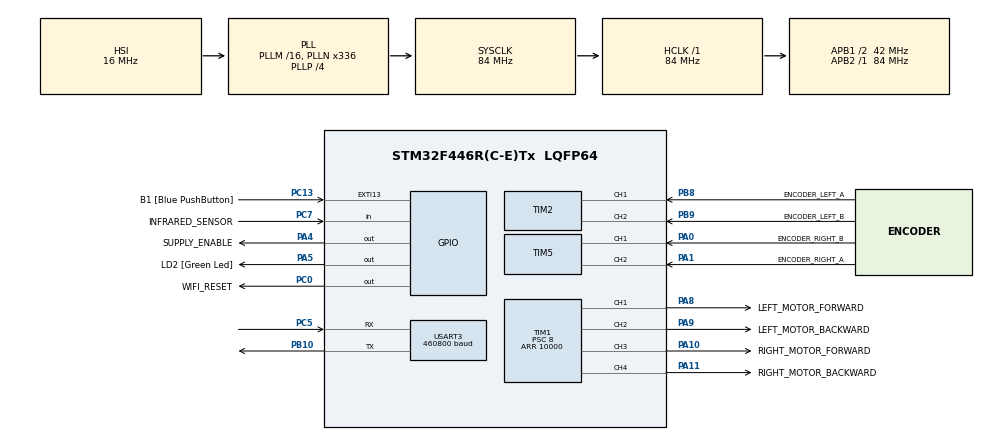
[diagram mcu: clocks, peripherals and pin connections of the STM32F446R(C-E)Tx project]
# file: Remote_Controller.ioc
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Dma.Request0=USART3_RX
Dma.USART3_RX.0.Direction=DMA_PERIPH_TO_MEMORY
Dma.USART3_RX.0.FIFOMode=DMA_FIFOMODE_DISABLE
Dma.USART3_RX.0.Instance=DMA1_Stream1
Dma.USART3_RX.0.MemDataAlignment=DMA_MDATAALIGN_BYTE
Dma.USART3_RX.0.MemInc=DMA_MINC_ENABLE
Dma.USART3_RX.0.Mode=DMA_NORMAL
Dma.USART3_RX.0.PeriphDataAlignment=DMA_PDATAALIGN_BYTE
Dma.USART3_RX.0.PeriphInc=DMA_PINC_DISABLE
Dma.USART3_RX.0.Priority=DMA_PRIORITY_HIGH
FREERTOS.Tasks01=DiffDriveTask,48,256,MoveDifferentialDrive,Default,NULL,Dynamic,NULL,NULL;InfraredTask,48,128,InfraredSensor,Default,NULL,Dynamic,NULL,NULL;TxTask,48,512,TxStream,Default,NULL,Dynamic,NULL,NULL;RxTask,48,512,RxStream,Default,NULL,Dynamic,NULL,NULL
FREERTOS.configUSE_NEWLIB_REENTRANT=1
Mcu.Family=STM32F4
Mcu.Name=STM32F446R(C-E)Tx
Mcu.Package=LQFP64
NVIC.DMA1_Stream1_IRQn=true\:5\:0\:false\:false\:true\:true\:false\:true
NVIC.PriorityGroup=NVIC_PRIORITYGROUP_4
NVIC.TIM3_IRQn=true\:5\:0\:false\:false\:true\:true\:true\:true
NVIC.TIM6_DAC_IRQn=true\:0\:0\:false\:false\:true\:false\:false\:true
NVIC.TimeBase=TIM6_DAC_IRQn
NVIC.TimeBaseIP=TIM6
PA0-WKUP.GPIO_Label=ENCODER_RIGHT_B
PA0-WKUP.Signal=S_TIM5_CH1
PA1.GPIO_Label=ENCODER_RIGHT_A
PA1.Signal=S_TIM5_CH2
PA10.GPIO_Label=RIGHT_MOTOR_FORWARD
PA10.Signal=S_TIM1_CH3
PA11.GPIO_Label=RIGHT_MOTOR_BACKWARD
PA11.Signal=S_TIM1_CH4
PA13.GPIO_Label=TMS
PA13.Mode=Serial_Wire
PA13.Signal=SYS_JTMS-SWDIO
PA14.GPIO_Label=TCK
PA14.Mode=Serial_Wire
PA14.Signal=SYS_JTCK-SWCLK
PA15.Signal=UART4_RTS
PA2.GPIO_Label=USART_TX
PA2.Signal=USART2_TX
PA3.GPIO_Label=USART_RX
PA3.Signal=USART2_RX
PA4.GPIO_Label=SUPPLY_ENABLE
PA4.GPIO_PuPd=GPIO_NOPULL
PA4.Signal=GPIO_Output
PA5.GPIO_Label=LD2 [Green Led]
PA5.Signal=GPIO_Output
PA8.GPIO_Label=LEFT_MOTOR_FORWARD
PA8.Signal=S_TIM1_CH1
PA9.GPIO_Label=LEFT_MOTOR_BACKWARD
PA9.Signal=S_TIM1_CH2
PB10.Mode=Asynchronous
PB10.Signal=USART3_TX
PB3.GPIO_Label=SWO
PB3.Signal=SYS_JTDO-SWO
PB8.GPIO_Label=ENCODER_LEFT_A
PB8.Signal=S_TIM2_CH1_ETR
PB9.GPIO_Label=ENCODER_LEFT_B
PB9.Signal=S_TIM2_CH2
PC0.GPIO_Label=WIFI_RESET
PC0.GPIO_PuPd=GPIO_NOPULL
PC0.Signal=GPIO_Output
PC13.GPIO_Label=B1 [Blue PushButton]
PC13.GPIO_ModeDefaultEXTI=GPIO_MODE_IT_FALLING
PC13.GPIO_PuPd=GPIO_NOPULL
PC13.Signal=GPXTI13
PC14-OSC32_IN.Mode=LSE-External-Oscillator
PC14-OSC32_IN.Signal=RCC_OSC32_IN
PC15-OSC32_OUT.Mode=LSE-External-Oscillator
PC15-OSC32_OUT.Signal=RCC_OSC32_OUT
PC5.Mode=Asynchronous
PC5.Signal=USART3_RX
PC7.GPIO_Label=INFRARED_SENSOR
PC7.Signal=GPIO_Input
PH0-OSC_IN.Mode=HSE-External-Oscillator
PH0-OSC_IN.Signal=RCC_OSC_IN
PH1-OSC_OUT.Mode=HSE-External-Oscillator
PH1-OSC_OUT.Signal=RCC_OSC_OUT
ProjectManager.HeapSize=0x200
ProjectManager.StackSize=0x400
ProjectManager.TargetToolchain=STM32CubeIDE
RCC.48MHZClocksFreq_Value=84000000
RCC.AHBFreq_Value=84000000
RCC.APB1CLKDivider=RCC_HCLK_DIV2
RCC.APB1Freq_Value=42000000
RCC.APB1TimFreq_Value=84000000
RCC.APB2Freq_Value=84000000
RCC.APB2TimFreq_Value=84000000
RCC.CortexFreq_Value=84000000
RCC.FLatency-AdvancedSettings=FLASH_LATENCY_2
RCC.HCLKFreq_Value=84000000
RCC.HSE_VALUE=8000000
RCC.HSI_VALUE=16000000
RCC.PLLN=336
RCC.PLLP=RCC_PLLP_DIV4
RCC.SYSCLKFreq_VALUE=84000000
RCC.SYSCLKSource=RCC_SYSCLKSOURCE_PLLCLK
RCC.USBFreq_Value=168000000
RCC.VCOOutputFreq_Value=336000000
SH.S_TIM1_CH1.0=TIM1_CH1,PWM Generation1 CH1
SH.S_TIM1_CH2.0=TIM1_CH2,PWM Generation2 CH2
SH.S_TIM1_CH3.0=TIM1_CH3,PWM Generation3 CH3
SH.S_TIM1_CH4.0=TIM1_CH4,PWM Generation4 CH4
SH.S_TIM2_CH1_ETR.0=TIM2_CH1,Encoder_Interface
SH.S_TIM2_CH2.0=TIM2_CH2,Encoder_Interface
SH.S_TIM5_CH1.0=TIM5_CH1,Encoder_Interface
SH.S_TIM5_CH2.0=TIM5_CH2,Encoder_Interface
TIM1.Channel-PWM\ Generation1\ CH1=TIM_CHANNEL_1
TIM1.Channel-PWM\ Generation2\ CH2=TIM_CHANNEL_2
TIM1.Channel-PWM\ Generation3\ CH3=TIM_CHANNEL_3
TIM1.Channel-PWM\ Generation4\ CH4=TIM_CHANNEL_4
TIM1.Period=10000
TIM1.Prescaler=8
TIM2.IC1Filter=15
TIM2.IC2Filter=15
TIM3.Period=1000-1
TIM3.Prescaler=840-1
TIM5.IC1Filter=15
TIM5.IC2Filter=15
USART3.BaudRate=460800
USART3.VirtualMode=VM_ASYNC
VP_FREERTOS_VS_CMSIS_V2.Mode=CMSIS_V2
VP_SYS_VS_tim6.Mode=TIM6
VP_TIM3_VS_ClockSourceINT.Mode=Internal
board=NUCLEO-F446RE

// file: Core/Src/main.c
/* USER CODE BEGIN Header */
/**
  ******************************************************************************
  * @file           : main.c
  * @brief          : Main program body
  ******************************************************************************
  * @attention
  *
  * <h2><center>&copy; Copyright (c) 2021 STMicroelectronics.
  * All rights reserved.</center></h2>
  *
  * This software component is licensed by ST under BSD 3-Clause license,
  * the "License"; You may not use this file except in compliance with the
  * License. You may obtain a copy of the License at:
  *                        opensource.org/licenses/BSD-3-Clause
  *
  ******************************************************************************
  */
/* USER CODE END Header */
#include "main.h"
#include "cmsis_os.h"

/* USER CODE BEGIN Includes */

#include "my_lib/differential_drive.h"
#include "my_lib/datastream.h"
#include "my_lib/digital_filters.h"

#include "my_data/control_parameters.h"
#include "my_data/diffdrive_parameters.h"

#include <stdio.h>
#include <stdlib.h>
#include <string.h>
#include <math.h>

/* USER CODE END Includes */

TIM_HandleTypeDef htim1;
TIM_HandleTypeDef htim2;
TIM_HandleTypeDef htim3;
TIM_HandleTypeDef htim5;

UART_HandleTypeDef huart3;
DMA_HandleTypeDef hdma_usart3_rx;

/* Definitions for DiffDriveTask */
osThreadId_t DiffDriveTaskHandle;
const osThreadAttr_t DiffDriveTask_attributes = {
  .name = "DiffDriveTask",
  .stack_size = 256 * 4,
  .priority = (osPriority_t) osPriorityRealtime,
};
/* Definitions for InfraredTask */
osThreadId_t InfraredTaskHandle;
const osThreadAttr_t InfraredTask_attributes = {
  .name = "InfraredTask",
  .stack_size = 128 * 4,
  .priority = (osPriority_t) osPriorityRealtime,
};
/* Definitions for TxTask */
osThreadId_t TxTaskHandle;
const osThreadAttr_t TxTask_attributes = {
  .name = "TxTask",
  .stack_size = 512 * 4,
  .priority = (osPriority_t) osPriorityRealtime,
};
/* Definitions for RxTask */
osThreadId_t RxTaskHandle;
const osThreadAttr_t RxTask_attributes = {
  .name = "RxTask",
  .stack_size = 512 * 4,
  .priority = (osPriority_t) osPriorityRealtime,
};
/* USER CODE BEGIN PV */

// Handles of my libraries
DIFFDRIVE_HandleTypeDef hdiffdrive;
MAF_HandleTypeDef hfilter_v, hfilter_om, hfilter_infrared;
DATASTREAM_HandleTypeDef hstream;

/* USER CODE END PV */

void SystemClock_Config(void);
static void MX_GPIO_Init(void);
static void MX_DMA_Init(void);
static void MX_TIM2_Init(void);
static void MX_TIM1_Init(void);
static void MX_TIM3_Init(void);
static void MX_TIM5_Init(void);
static void MX_USART3_UART_Init(void);
void MoveDifferentialDrive(void *argument);
void InfraredSensor(void *argument);
void TxStream(void *argument);
void RxStream(void *argument);

/* USER CODE BEGIN PFP */

static void MAIN_DATASTREAM_Init(void);
static void MAIN_DIFFDRIVE_Init(void);
static void MAIN_MAF_Init(void);

/* USER CODE END PFP */

/* USER CODE BEGIN 0 */

// Global variables shared between tasks
volatile float x_val=0, y_val=0;
volatile bool diffDrive_enabled= false;
volatile bool diffDrive_stopped= true;
volatile bool RxStream_enabled= true;
volatile bool RxStream_stopped= false;

/* USER CODE END 0 */

int main(void)
{

  /* MCU Configuration--------------------------------------------------------*/

  /* Reset of all peripherals, Initializes the Flash interface and the Systick. */
  HAL_Init();

  /* Configure the system clock */
  SystemClock_Config();

  /* Initialize all configured peripherals */
  MX_GPIO_Init();
  MX_DMA_Init();
  MX_TIM2_Init();
  MX_TIM1_Init();
  MX_TIM3_Init();
  MX_TIM5_Init();
  MX_USART3_UART_Init();
  /* USER CODE BEGIN 2 */

  // Initializing my libraries
  MAIN_DIFFDRIVE_Init();
  MAIN_DATASTREAM_Init();
  MAIN_MAF_Init();

  // Using the flag "wait_button" to start MCU with WIFI disabled
  // if blue button is pressed during reset. It's useful to avoid
  // battery leakage
  bool wait_for_button= false;
  if( !HAL_GPIO_ReadPin(B1_GPIO_Port, B1_Pin) ){
   	wait_for_button= true;
   	// Show pressed button
   	while( !HAL_GPIO_ReadPin(B1_GPIO_Port, B1_Pin) ){
   		HAL_GPIO_TogglePin(LD2_GPIO_Port, LD2_Pin);
   		HAL_Delay(50);
   	}
   	// Turn on LED
   	HAL_GPIO_WritePin(LD2_GPIO_Port, LD2_Pin, GPIO_PIN_RESET);
   	// Debouncing released button
   	HAL_Delay(1000);
  }

  // Reset ESP-8266
  HAL_GPIO_WritePin(WIFI_RESET_GPIO_Port, WIFI_RESET_Pin, GPIO_PIN_RESET);

  // Wait for blue button if this option is on
  if( wait_for_button )
	  while( HAL_GPIO_ReadPin(B1_GPIO_Port, B1_Pin) )
		  	  ;

  HAL_Delay(1000);

  // Start ESP
  HAL_GPIO_WritePin(WIFI_RESET_GPIO_Port, WIFI_RESET_Pin, GPIO_PIN_SET);

  // Wait a bit for ESP initialization
  HAL_Delay(3000);

  /* USER CODE END 2 */

  /* Init scheduler */
  osKernelInitialize();

  /* Create the thread(s) */
  /* creation of DiffDriveTask */
  DiffDriveTaskHandle = osThreadNew(MoveDifferentialDrive, NULL, &DiffDriveTask_attributes);

  /* creation of InfraredTask */
  InfraredTaskHandle = osThreadNew(InfraredSensor, NULL, &InfraredTask_attributes);

  /* creation of TxTask */
  TxTaskHandle = osThreadNew(TxStream, NULL, &TxTask_attributes);

  /* creation of RxTask */
  RxTaskHandle = osThreadNew(RxStream, NULL, &RxTask_attributes);

  /* Start scheduler */
  osKernelStart();

  /* We should never get here as control is now taken by the scheduler */
  /* Infinite loop */
  while (1)
  {

  }
}

void SystemClock_Config(void)
{
  RCC_OscInitTypeDef RCC_OscInitStruct = {0};
  RCC_ClkInitTypeDef RCC_ClkInitStruct = {0};

  /** Configure the main internal regulator output voltage
  */
  __HAL_RCC_PWR_CLK_ENABLE();
  __HAL_PWR_VOLTAGESCALING_CONFIG(PWR_REGULATOR_VOLTAGE_SCALE3);
  /** Initializes the RCC Oscillators according to the specified parameters
  * in the RCC_OscInitTypeDef structure.
  */
  RCC_OscInitStruct.OscillatorType = RCC_OSCILLATORTYPE_HSI;
  RCC_OscInitStruct.HSIState = RCC_HSI_ON;
  RCC_OscInitStruct.HSICalibrationValue = RCC_HSICALIBRATION_DEFAULT;
  RCC_OscInitStruct.PLL.PLLState = RCC_PLL_ON;
  RCC_OscInitStruct.PLL.PLLSource = RCC_PLLSOURCE_HSI;
  RCC_OscInitStruct.PLL.PLLM = 16;
  RCC_OscInitStruct.PLL.PLLN = 336;
  RCC_OscInitStruct.PLL.PLLP = RCC_PLLP_DIV4;
  RCC_OscInitStruct.PLL.PLLQ = 2;
  RCC_OscInitStruct.PLL.PLLR = 2;
  if (HAL_RCC_OscConfig(&RCC_OscInitStruct) != HAL_OK)
  {
    Error_Handler();
  }
  /** Initializes the CPU, AHB and APB buses clocks
  */
  RCC_ClkInitStruct.ClockType = RCC_CLOCKTYPE_HCLK|RCC_CLOCKTYPE_SYSCLK
                              |RCC_CLOCKTYPE_PCLK1|RCC_CLOCKTYPE_PCLK2;
  RCC_ClkInitStruct.SYSCLKSource = RCC_SYSCLKSOURCE_PLLCLK;
  RCC_ClkInitStruct.AHBCLKDivider = RCC_SYSCLK_DIV1;
  RCC_ClkInitStruct.APB1CLKDivider = RCC_HCLK_DIV2;
  RCC_ClkInitStruct.APB2CLKDivider = RCC_HCLK_DIV1;

  if (HAL_RCC_ClockConfig(&RCC_ClkInitStruct, FLASH_LATENCY_2) != HAL_OK)
  {
    Error_Handler();
  }
}

static void MX_TIM1_Init(void)
{

  TIM_MasterConfigTypeDef sMasterConfig = {0};
  TIM_OC_InitTypeDef sConfigOC = {0};
  TIM_BreakDeadTimeConfigTypeDef sBreakDeadTimeConfig = {0};

  htim1.Instance = TIM1;
  htim1.Init.Prescaler = 8;
  htim1.Init.CounterMode = TIM_COUNTERMODE_UP;
  htim1.Init.Period = 10000;
  htim1.Init.ClockDivision = TIM_CLOCKDIVISION_DIV1;
  htim1.Init.RepetitionCounter = 0;
  htim1.Init.AutoReloadPreload = TIM_AUTORELOAD_PRELOAD_DISABLE;
  if (HAL_TIM_PWM_Init(&htim1) != HAL_OK)
  {
    Error_Handler();
  }
  sMasterConfig.MasterOutputTrigger = TIM_TRGO_RESET;
  sMasterConfig.MasterSlaveMode = TIM_MASTERSLAVEMODE_DISABLE;
  if (HAL_TIMEx_MasterConfigSynchronization(&htim1, &sMasterConfig) != HAL_OK)
  {
    Error_Handler();
  }
  sConfigOC.OCMode = TIM_OCMODE_PWM1;
  sConfigOC.Pulse = 0;
  sConfigOC.OCPolarity = TIM_OCPOLARITY_HIGH;
  sConfigOC.OCNPolarity = TIM_OCNPOLARITY_HIGH;
  sConfigOC.OCFastMode = TIM_OCFAST_DISABLE;
  sConfigOC.OCIdleState = TIM_OCIDLESTATE_RESET;
  sConfigOC.OCNIdleState = TIM_OCNIDLESTATE_RESET;
  if (HAL_TIM_PWM_ConfigChannel(&htim1, &sConfigOC, TIM_CHANNEL_1) != HAL_OK)
  {
    Error_Handler();
  }
  if (HAL_TIM_PWM_ConfigChannel(&htim1, &sConfigOC, TIM_CHANNEL_2) != HAL_OK)
  {
    Error_Handler();
  }
  if (HAL_TIM_PWM_ConfigChannel(&htim1, &sConfigOC, TIM_CHANNEL_3) != HAL_OK)
  {
    Error_Handler();
  }
  if (HAL_TIM_PWM_ConfigChannel(&htim1, &sConfigOC, TIM_CHANNEL_4) != HAL_OK)
  {
    Error_Handler();
  }
  sBreakDeadTimeConfig.OffStateRunMode = TIM_OSSR_DISABLE;
  sBreakDeadTimeConfig.OffStateIDLEMode = TIM_OSSI_DISABLE;
  sBreakDeadTimeConfig.LockLevel = TIM_LOCKLEVEL_OFF;
  sBreakDeadTimeConfig.DeadTime = 0;
  sBreakDeadTimeConfig.BreakState = TIM_BREAK_DISABLE;
  sBreakDeadTimeConfig.BreakPolarity = TIM_BREAKPOLARITY_HIGH;
  sBreakDeadTimeConfig.AutomaticOutput = TIM_AUTOMATICOUTPUT_DISABLE;
  if (HAL_TIMEx_ConfigBreakDeadTime(&htim1, &sBreakDeadTimeConfig) != HAL_OK)
  {
    Error_Handler();
  }
  HAL_TIM_MspPostInit(&htim1);

}

static void MX_TIM2_Init(void)
{

  TIM_Encoder_InitTypeDef sConfig = {0};
  TIM_MasterConfigTypeDef sMasterConfig = {0};

  htim2.Instance = TIM2;
  htim2.Init.Prescaler = 0;
  htim2.Init.CounterMode = TIM_COUNTERMODE_UP;
  htim2.Init.Period = 4294967295;
  htim2.Init.ClockDivision = TIM_CLOCKDIVISION_DIV1;
  htim2.Init.AutoReloadPreload = TIM_AUTORELOAD_PRELOAD_DISABLE;
  sConfig.EncoderMode = TIM_ENCODERMODE_TI1;
  sConfig.IC1Polarity = TIM_ICPOLARITY_RISING;
  sConfig.IC1Selection = TIM_ICSELECTION_DIRECTTI;
  sConfig.IC1Prescaler = TIM_ICPSC_DIV1;
  sConfig.IC1Filter = 15;
  sConfig.IC2Polarity = TIM_ICPOLARITY_RISING;
  sConfig.IC2Selection = TIM_ICSELECTION_DIRECTTI;
  sConfig.IC2Prescaler = TIM_ICPSC_DIV1;
  sConfig.IC2Filter = 15;
  if (HAL_TIM_Encoder_Init(&htim2, &sConfig) != HAL_OK)
  {
    Error_Handler();
  }
  sMasterConfig.MasterOutputTrigger = TIM_TRGO_RESET;
  sMasterConfig.MasterSlaveMode = TIM_MASTERSLAVEMODE_DISABLE;
  if (HAL_TIMEx_MasterConfigSynchronization(&htim2, &sMasterConfig) != HAL_OK)
  {
    Error_Handler();
  }

}

static void MX_TIM3_Init(void)
{

  TIM_ClockConfigTypeDef sClockSourceConfig = {0};
  TIM_MasterConfigTypeDef sMasterConfig = {0};

  htim3.Instance = TIM3;
  htim3.Init.Prescaler = 840-1;
  htim3.Init.CounterMode = TIM_COUNTERMODE_UP;
  htim3.Init.Period = 1000-1;
  htim3.Init.ClockDivision = TIM_CLOCKDIVISION_DIV1;
  htim3.Init.AutoReloadPreload = TIM_AUTORELOAD_PRELOAD_DISABLE;
  if (HAL_TIM_Base_Init(&htim3) != HAL_OK)
  {
    Error_Handler();
  }
  sClockSourceConfig.ClockSource = TIM_CLOCKSOURCE_INTERNAL;
  if (HAL_TIM_ConfigClockSource(&htim3, &sClockSourceConfig) != HAL_OK)
  {
    Error_Handler();
  }
  sMasterConfig.MasterOutputTrigger = TIM_TRGO_RESET;
  sMasterConfig.MasterSlaveMode = TIM_MASTERSLAVEMODE_DISABLE;
  if (HAL_TIMEx_MasterConfigSynchronization(&htim3, &sMasterConfig) != HAL_OK)
  {
    Error_Handler();
  }

}

static void MX_TIM5_Init(void)
{

  TIM_Encoder_InitTypeDef sConfig = {0};
  TIM_MasterConfigTypeDef sMasterConfig = {0};

  htim5.Instance = TIM5;
  htim5.Init.Prescaler = 0;
  htim5.Init.CounterMode = TIM_COUNTERMODE_UP;
  htim5.Init.Period = 4294967295;
  htim5.Init.ClockDivision = TIM_CLOCKDIVISION_DIV1;
  htim5.Init.AutoReloadPreload = TIM_AUTORELOAD_PRELOAD_DISABLE;
  sConfig.EncoderMode = TIM_ENCODERMODE_TI1;
  sConfig.IC1Polarity = TIM_ICPOLARITY_RISING;
  sConfig.IC1Selection = TIM_ICSELECTION_DIRECTTI;
  sConfig.IC1Prescaler = TIM_ICPSC_DIV1;
  sConfig.IC1Filter = 15;
  sConfig.IC2Polarity = TIM_ICPOLARITY_RISING;
  sConfig.IC2Selection = TIM_ICSELECTION_DIRECTTI;
  sConfig.IC2Prescaler = TIM_ICPSC_DIV1;
  sConfig.IC2Filter = 15;
  if (HAL_TIM_Encoder_Init(&htim5, &sConfig) != HAL_OK)
  {
    Error_Handler();
  }
  sMasterConfig.MasterOutputTrigger = TIM_TRGO_RESET;
  sMasterConfig.MasterSlaveMode = TIM_MASTERSLAVEMODE_DISABLE;
  if (HAL_TIMEx_MasterConfigSynchronization(&htim5, &sMasterConfig) != HAL_OK)
  {
    Error_Handler();
  }

}

static void MX_USART3_UART_Init(void)
{

  huart3.Instance = USART3;
  huart3.Init.BaudRate = 460800;
  huart3.Init.WordLength = UART_WORDLENGTH_8B;
  huart3.Init.StopBits = UART_STOPBITS_1;
  huart3.Init.Parity = UART_PARITY_NONE;
  huart3.Init.Mode = UART_MODE_TX_RX;
  huart3.Init.HwFlowCtl = UART_HWCONTROL_NONE;
  huart3.Init.OverSampling = UART_OVERSAMPLING_16;
  if (HAL_UART_Init(&huart3) != HAL_OK)
  {
    Error_Handler();
  }

}

static void MX_DMA_Init(void)
{

  /* DMA controller clock enable */
  __HAL_RCC_DMA1_CLK_ENABLE();

  /* DMA interrupt init */
  /* DMA1_Stream1_IRQn interrupt configuration */
  HAL_NVIC_SetPriority(DMA1_Stream1_IRQn, 5, 0);
  HAL_NVIC_EnableIRQ(DMA1_Stream1_IRQn);

}

static void MX_GPIO_Init(void)
{
  GPIO_InitTypeDef GPIO_InitStruct = {0};

  /* GPIO Ports Clock Enable */
  __HAL_RCC_GPIOC_CLK_ENABLE();
  __HAL_RCC_GPIOH_CLK_ENABLE();
  __HAL_RCC_GPIOA_CLK_ENABLE();
  __HAL_RCC_GPIOB_CLK_ENABLE();

  /*Configure GPIO pin Output Level */
  HAL_GPIO_WritePin(WIFI_RESET_GPIO_Port, WIFI_RESET_Pin, GPIO_PIN_RESET);

  /*Configure GPIO pin Output Level */
  HAL_GPIO_WritePin(GPIOA, SUPPLY_ENABLE_Pin|LD2_Pin, GPIO_PIN_RESET);

  /*Configure GPIO pin : B1_Pin */
  GPIO_InitStruct.Pin = B1_Pin;
  GPIO_InitStruct.Mode = GPIO_MODE_IT_FALLING;
  GPIO_InitStruct.Pull = GPIO_NOPULL;
  HAL_GPIO_Init(B1_GPIO_Port, &GPIO_InitStruct);

  /*Configure GPIO pin : WIFI_RESET_Pin */
  GPIO_InitStruct.Pin = WIFI_RESET_Pin;
  GPIO_InitStruct.Mode = GPIO_MODE_OUTPUT_PP;
  GPIO_InitStruct.Pull = GPIO_NOPULL;
  GPIO_InitStruct.Speed = GPIO_SPEED_FREQ_LOW;
  HAL_GPIO_Init(WIFI_RESET_GPIO_Port, &GPIO_InitStruct);

  /*Configure GPIO pins : USART_TX_Pin USART_RX_Pin */
  GPIO_InitStruct.Pin = USART_TX_Pin|USART_RX_Pin;
  GPIO_InitStruct.Mode = GPIO_MODE_AF_PP;
  GPIO_InitStruct.Pull = GPIO_NOPULL;
  GPIO_InitStruct.Speed = GPIO_SPEED_FREQ_VERY_HIGH;
  GPIO_InitStruct.Alternate = GPIO_AF7_USART2;
  HAL_GPIO_Init(GPIOA, &GPIO_InitStruct);

  /*Configure GPIO pins : SUPPLY_ENABLE_Pin LD2_Pin */
  GPIO_InitStruct.Pin = SUPPLY_ENABLE_Pin|LD2_Pin;
  GPIO_InitStruct.Mode = GPIO_MODE_OUTPUT_PP;
  GPIO_InitStruct.Pull = GPIO_NOPULL;
  GPIO_InitStruct.Speed = GPIO_SPEED_FREQ_LOW;
  HAL_GPIO_Init(GPIOA, &GPIO_InitStruct);

  /*Configure GPIO pin : INFRARED_SENSOR_Pin */
  GPIO_InitStruct.Pin = INFRARED_SENSOR_Pin;
  GPIO_InitStruct.Mode = GPIO_MODE_INPUT;
  GPIO_InitStruct.Pull = GPIO_NOPULL;
  HAL_GPIO_Init(INFRARED_SENSOR_GPIO_Port, &GPIO_InitStruct);

  /*Configure GPIO pin : PA15 */
  GPIO_InitStruct.Pin = GPIO_PIN_15;
  GPIO_InitStruct.Mode = GPIO_MODE_AF_PP;
  GPIO_InitStruct.Pull = GPIO_NOPULL;
  GPIO_InitStruct.Speed = GPIO_SPEED_FREQ_VERY_HIGH;
  GPIO_InitStruct.Alternate = GPIO_AF8_UART4;
  HAL_GPIO_Init(GPIOA, &GPIO_InitStruct);

}

/* USER CODE BEGIN 4 */

static void MAIN_DATASTREAM_Init(){

	DATASTREAM_InitTypeDef DATASTREAM_InitStruct;

	DATASTREAM_InitStruct.DMA_Rx_Enable= true;
	DATASTREAM_InitStruct.DMA_Rx_Stream_IRQn= DMA1_Stream1_IRQn;
	DATASTREAM_InitStruct.huart= &huart3;

	hstream.Init= DATASTREAM_InitStruct;

	DATASTREAM_Init(&hstream);

}

static void MAIN_DIFFDRIVE_Init(void){

	uint16_t max_sample= 1200u;

	hdiffdrive.Init.timing_htim= &htim3;
	hdiffdrive.Init.timing_time_step= TIME_STEP;

	hdiffdrive.Init.encoder_htim[left ]= &htim2;
	hdiffdrive.Init.encoder_htim[right]= &htim5;
	hdiffdrive.Init.encoder_tim_channel[left ]= TIM_CHANNEL_1;
	hdiffdrive.Init.encoder_tim_channel[right]= TIM_CHANNEL_1;
	hdiffdrive.Init.encoder_tim_arr_resolution[left ]= 32;
	hdiffdrive.Init.encoder_tim_arr_resolution[right]= 32;

	hdiffdrive.Init.encoder_resolution[left ]= 1900; //1920; // Number of step each wheel revolution
	hdiffdrive.Init.encoder_resolution[right]= 1900; //1920;

	hdiffdrive.Init.motor_htim[left ][forward ]= &htim1;
	hdiffdrive.Init.motor_htim[left ][backward]= &htim1;
	hdiffdrive.Init.motor_htim[right][forward ]= &htim1;
	hdiffdrive.Init.motor_htim[right][backward]= &htim1;

	hdiffdrive.Init.motor_pwm_channel[left ][forward ]= TIM_CHANNEL_1;
	hdiffdrive.Init.motor_pwm_channel[left ][backward]= TIM_CHANNEL_2;
	hdiffdrive.Init.motor_pwm_channel[right][forward ]= TIM_CHANNEL_3;
	hdiffdrive.Init.motor_pwm_channel[right][backward]= TIM_CHANNEL_4;

	hdiffdrive.Init.motor_max_voltage[left ]= 	 MOTOR_MAX_VOLTAGE;
	hdiffdrive.Init.motor_max_voltage[right]= 	 MOTOR_MAX_VOLTAGE;
	hdiffdrive.Init.motor_min_voltage[left ]= 	 MOTOR_MIN_VOLTAGE;
	hdiffdrive.Init.motor_min_voltage[right]= 	 MOTOR_MIN_VOLTAGE;
	hdiffdrive.Init.motor_supply_voltage[left]=  SUPPLY_VOLTAGE;
	hdiffdrive.Init.motor_supply_voltage[right]= SUPPLY_VOLTAGE;

	hdiffdrive.Init.control_fdfrwrd_arma_AR[left ]= AR_L;
	hdiffdrive.Init.control_fdfrwrd_arma_AR[right]= AR_R;
	hdiffdrive.Init.control_fdfrwrd_arma_MA[left ]= MA_L;
	hdiffdrive.Init.control_fdfrwrd_arma_MA[right]= MA_R;
	hdiffdrive.Init.control_fdfrwrd_arma_n_ar[left ]= N_AR_L;
	hdiffdrive.Init.control_fdfrwrd_arma_n_ar[right]= N_AR_R;
	hdiffdrive.Init.control_fdfrwrd_arma_n_ma[left ]= N_MA_L;
	hdiffdrive.Init.control_fdfrwrd_arma_n_ma[right]= N_MA_R;
	hdiffdrive.Init.control_fdfrwrd_arma_tau[left ]= TAU_L;
	hdiffdrive.Init.control_fdfrwrd_arma_tau[right]= TAU_R;

	hdiffdrive.Init.control_pid_P[left ]= PID_P_L;
	hdiffdrive.Init.control_pid_P[right]= PID_P_R;
	hdiffdrive.Init.control_pid_I[left ]= PID_I_L;
	hdiffdrive.Init.control_pid_I[right]= PID_I_R;
	hdiffdrive.Init.control_pid_D[left ]= PID_D_L;
	hdiffdrive.Init.control_pid_D[right]= PID_D_R;

	hdiffdrive.Init.history_max_sample= max_sample;

	// --- Mechanical parameters (from real model) --- //
	hdiffdrive.Init.mech_prmtr_l= WHEEL_DISTANCE;
	hdiffdrive.Init.mech_prmtr_r= WHEEL_RADIUS;
	hdiffdrive.Init.mech_prmtr_max_wheel_speed= WHEEL_MAX_SPEED;

	// --- Initialize handle --- //
	DIFFDRIVE_Init(&hdiffdrive);

}
// Moving Average Filter initialization --------------------------------------------- //
static void MAIN_MAF_Init(void){

#ifdef PHONE_CONTROLLER
	int filtr_v_size=  10;
	int filtr_om_size= 10;
#else
#ifdef JOYSTICK_CONTROLLER
	int filtr_v_size=  30;
	int filtr_om_size= 50;
#endif
#endif

	int filtr_infrared_size= 100;

	// Null pointer to use a MAF without weights
	void* weights_buff= NULL;

	// Creating filters
	hfilter_v  =	   MAF_Create(filtr_v_size,  weights_buff);
	hfilter_om = 	   MAF_Create(filtr_om_size, weights_buff);
	hfilter_infrared = MAF_Create(filtr_infrared_size, weights_buff);

}

/* USER CODE END 4 */

void MoveDifferentialDrive(void *argument)
{
  /* USER CODE BEGIN 5 */

	// Trajectory speeds (linear and angular speed)
	float v= 0, om= 0;

	// Trajectory speed limits (theoretically computed below)
	float v_max, om_max, v_max_curr;

	// Extracting Max wheels speed (radiant each second)
	float wheel_speed[2];
	float wheel_speed_max= hdiffdrive.mech_prmtr.max_wheel_speed;
	wheel_speed[left ]= wheel_speed_max;
	wheel_speed[right]= wheel_speed_max;

	// Delta_a_max computation (linear variation, is max when wheels rotate at max speed on same direction)
	DIFFDRIVE_WheelSpeed2TrajectorySpeed(&v_max, NULL, wheel_speed);
	v_max *= 1; // Here you could modulate max value

	// Delta_th_max computation (angular variation, is max when wheel rotate at max speed on opposite direction)
	wheel_speed[left]= -wheel_speed_max;
	DIFFDRIVE_WheelSpeed2TrajectorySpeed(NULL, &om_max, wheel_speed);
	om_max *= 1; // Here you could modulate max value

	// IR sensor variables
	float IR_val;
	float IR_thres= 0.3;

	// Setting Global flag to indicate that Diff Drive is going to move
	diffDrive_stopped= false;

	// Start control
	DIFFDRIVE_TrackingStart();

	/* Infinite loop */
	for(;;){

		// If movement is enabled
		if( diffDrive_enabled ){

			// Compute angular trajectory increment (y_val spans from -1 to 1)
			om = (float)y_val * om_max;

#ifdef JOYSTICK_CONTROLLER
			// Modulate omega when x_val is different from 0 (to make control sensible when you rotate system at max
			// angular speed and try to increase linear speed, at same time. Could be a problem with joystick controller)
			float alpha= 0.8;
			om = om*((alpha-1)*fabs(x_val)+1);
#endif

			//
			// Compute v_max, to find a feasible trajectory, i.e. that respect wheel max speed rate.
			// Here I fix omega (angular speed), computed above, and I find the current max (feasible) linear value
			// Look at chapter 2, expression 1.11, on the links below (on STM32CubeIDE press CTRL and then click). You
			// have just to find the max or min v value (min is -max) with the constraints of omega fixed and
			// wheel_speed between the fixed range:
			//
			// https://github.com/FloydPeppe/Programmazione_Sistemi_Embedded_Automazione/blob/master/Relazione/Relazione_Progetto.pdf
			//
			float l = hdiffdrive.mech_prmtr.l;
			float r = hdiffdrive.mech_prmtr.r;
			if( om >= 0 )
				v_max_curr = r * wheel_speed_max - om * l;
			else
				v_max_curr = r * wheel_speed_max + om * l;

			// Compute linear trajectory increment (x_val spans from -1 to 1)
			v  = (float)x_val * v_max_curr;

			// Update filters
			MAF_Update(&hfilter_v,  v);
			MAF_Update(&hfilter_om, om);

			// Get current values
			v=  __MAF_GET_VAL(&hfilter_v);
			om= __MAF_GET_VAL(&hfilter_om);

			// If diff drive has been previously stopped
			if( diffDrive_stopped ){
				// Restart control
				DIFFDRIVE_TrackingResume();
				// Set flag to indicate that is going to move
				diffDrive_stopped= false;
			}

			// Only in forward direction (infrared sensor is in front of diff drive)
			if( v > 0 ){
				// v enveloped by infrared sensor value
				v *= (IR_val = __MAF_GET_VAL(&hfilter_infrared));

				// If IR_val < IR_thres, v = 0
				if( IR_val < IR_thres )
					v = 0;
			}

			// Make step control
			DIFFDRIVE_TrackingStep(v, om);

		}
		// if movement is disabled and diffDrive is moving
		else if( !diffDrive_stopped ){
			// Suspend control (stop diff drive)
			DIFFDRIVE_TrackingSuspend();

			// Reset filters
			MAF_Reset(&hfilter_v,  0);
			MAF_Reset(&hfilter_om, 0);

			// Set global flag to indicate that diff drive is now stopped
			diffDrive_stopped= true;
		}

	}
  /* USER CODE END 5 */
}

void InfraredSensor(void *argument)
{
  /* USER CODE BEGIN InfraredSensor */
	/* Infinite loop */

	// Infrared variable
	float sens = 0;

	for (;;) {

		// Read current value on IR pin (0 is obstacle detected, 1 is free space)
		sens = HAL_GPIO_ReadPin(INFRARED_SENSOR_GPIO_Port, INFRARED_SENSOR_Pin);

		// Use MAF filter to transform only 0 or 1 state in values that span from 0 to 1
		// (like a normalized distance measure)
		MAF_Update(&hfilter_infrared, sens);

		osDelay(1);
	}
  /* USER CODE END InfraredSensor */
}

void TxStream(void *argument)
{
  /* USER CODE BEGIN TxStream */

  /* Infinite loop */
  for(;;)
  {

	  // If blue button is pressed
	  if( !HAL_GPIO_ReadPin(B1_GPIO_Port, B1_Pin) ){

		  // Stop Differential Drive motion
		  diffDrive_enabled= false;

		  // Wait until diff drive is still
		  while( !diffDrive_stopped )
			  ;

		  // Stop Rx stream
		  RxStream_enabled= false;

		  // Wait until Rx is stream is stopped
		  while( !RxStream_stopped )
			  ;

		  // Suspend other threads while sending values
		  osThreadSuspend(DiffDriveTaskHandle);
		  osThreadSuspend(InfraredTaskHandle);
		  osThreadSuspend(RxTaskHandle);

		  // Turn on LED
		  HAL_GPIO_WritePin(LD2_GPIO_Port, LD2_Pin, GPIO_PIN_SET);

		  // Reset ESP-8266
		  HAL_GPIO_WritePin(WIFI_RESET_GPIO_Port, WIFI_RESET_Pin, GPIO_PIN_RESET);

		  osDelay(400);

		  // Send values forever
		  for(;;){

			  // If blue button is pressed again
			  if( !HAL_GPIO_ReadPin(B1_GPIO_Port, B1_Pin) ){

				  // Enable ESP-8266
				  HAL_GPIO_WritePin(WIFI_RESET_GPIO_Port, WIFI_RESET_Pin, GPIO_PIN_SET);

				  // Rapidly flash led to show MCU ready to send values
				  for(int i=0; i<20; i++){
					  HAL_GPIO_TogglePin(LD2_GPIO_Port, LD2_Pin);
					  osDelay(50);
				  }

				  // Turn off LED
				  HAL_GPIO_WritePin(LD2_GPIO_Port, LD2_Pin, GPIO_PIN_RESET);

				  // Wait for 10 received chars
				  char ch[10];
				  //HAL_UART_Receive(&huart3, (uint8_t*) ch, sizeof(ch), HAL_MAX_DELAY);

				  // Start DMA Rx (Rx_flag will be connected with the flag inside datastream handle struct)
				  DATASTREAM_ReceiveDMA(&hstream, (uint8_t*)ch, sizeof(ch));

				  // Wait for a received input
				  while( !__DATASTREAM_RX_DMA_CPLT(&hstream) )
					  __NOP();

				  // Wait a bit
				  osDelay(2000);

				  DIFFDRIVE_HISTORY_TypeDef tmphist= hdiffdrive.history;

				  // Number of saved samples
				  uint N_sample;
				  if( tmphist.sample_cnt < tmphist.max_sample )
					  N_sample=  tmphist.sample_cnt;
				  else
					  N_sample=  tmphist.max_sample;

				  // First values send is the actual number of samples
				  DATASTREAM_Print(&hstream, int_csv, 1, N_sample);
				  // Bit of transfer delay
				  osDelay(5);

				  // Init History Get function
				  DIFFDRIVE_HISTORY_Get_Init();

				  for(int k= 0; k < N_sample; k++){
					  // Temporary variables
					  DIFFDRIVE_STATE_TypeDef state_measure, state_target;

					  // Get one state sample from history
					  DIFFDRIVE_HISTORY_Get_Sample(&state_measure, &state_target);

					  // Send values to serial connected to ESP WiFi module
					  DATASTREAM_Print(
								&hstream, float_csv, 18,
								state_measure.input[left], state_measure.input[right],
								state_target .input[left], state_target .input[right],
								state_measure.wheel[left], state_measure.wheel[right],
								state_target .wheel[left], state_target .wheel[right],
								state_measure.pose.x_a,    state_measure.pose.y_a,
								state_measure.pose.theta,  state_measure.pose.v,
								state_measure.pose.om,
								state_target .pose.x_a,    state_target.pose.y_a,
								state_target .pose.theta,  state_target.pose.v,
								state_target .pose.om
					  );
					  // Bit of transfer delay
					  osDelay(5);
					  // Toggling led to show data transfer operation
					  if( !(k%50) )
						  HAL_GPIO_TogglePin(LD2_GPIO_Port, LD2_Pin);
				  }

				  // Turn off LED
				  HAL_GPIO_WritePin(LD2_GPIO_Port, LD2_Pin, GPIO_PIN_RESET);

				  // Reset ESP-8266
				  HAL_GPIO_WritePin(WIFI_RESET_GPIO_Port, WIFI_RESET_Pin, GPIO_PIN_RESET);
			  }

		  }
	  }
  }
  /* USER CODE END TxStream */
}

/* USER CODE BEGIN Header_RxStream */
/**
* @brief Function implementing the RxTask thread.
* @param argument: Not used
* @retval None
*/

//#define STOP_WHEN_ZERO_ENTRY_

/* USER CODE END Header_RxStream */
void RxStream(void *argument)
{
  /* USER CODE BEGIN RxStream */
	/* Infinite loop */

	// Debug array
	uint32_t running_time[100]={0};
	int k_= 0;

	// Communication timeout of milliseconds
	uint32_t timeout_time= 1000;

	// Values threshold (for noise rejection)
	float val_thres= 0.2;

	// Strings
	char str_1[20], str_2[20];

#ifdef CSV_PACKET

	// Data buffer
	uint8_t data[74];

#else
#ifdef JSON_PACKET

	// Data buffer
	uint8_t data[200];

	// Target strings to find on packet
	char target_str[]= "value"; //"gravity";
	char curr_str[]=   "value"; //"gravity";

#endif /* JSON_PACKET */
#endif /* CSV_PACKET */

	// Keep LED on to show that data transfer is down
	HAL_GPIO_WritePin(LD2_GPIO_Port, LD2_Pin, GPIO_PIN_SET);

	// Start DMA Rx (Rx_flag will be connected with the flag inside datastream handle struct)
	DATASTREAM_ReceiveDMA(&hstream, data, sizeof(data));

	// Wait for a received input
	while( !__DATASTREAM_RX_DMA_CPLT(&hstream) )
		__NOP();

	// LED off to show that data transfer is up
	HAL_GPIO_WritePin(LD2_GPIO_Port, LD2_Pin, GPIO_PIN_RESET);

	// Setting Global flag to enable Diff Drive
	diffDrive_enabled= true;

	// Measure time
	uint32_t tic= osKernelGetTickCount();
	uint32_t toc;

	for(;;){

		// If data is received
		if( __DATASTREAM_RX_DMA_CPLT(&hstream) ){

			// Debug Rx time
			if( k_ < sizeof(running_time)/sizeof(*running_time) )
				running_time[k_++]= osKernelGetTickCount()-tic;

			// ---  Start reading packet --- //
			int start_idx=0;

#ifdef CSV_PACKET

			// Find message start index (where the '\n' char is)
			while( data[start_idx++] != '\n' && start_idx < sizeof(data) )
				;

#else
#ifdef JSON_PACKET

			// Find message start index from JSON packet (where the "value" string ends, use debugger to see how
			// packet is formatted)
			do{
				for(int j=0; j<sizeof(curr_str)-1; j++)
					curr_str[j]= data[start_idx+j];
				curr_str[sizeof(curr_str)-1]= '\0';

				start_idx++;

			}while( strcmp(curr_str,target_str) && start_idx < sizeof(data)+sizeof(curr_str) );

			start_idx= start_idx+sizeof(target_str)+1;

#endif
#endif

			// Read 2 values from CSV message (inside data itself is CSV formatted both for JSON and pure CSV packet) //

			// --- Reading first string --- //
			int i= start_idx;
			while( data[i] != ',' &&  i-start_idx < sizeof(str_1) && i < sizeof(data) ){
				str_1[i-start_idx] = data[i];
				i++;
			}
			// Place string terminator in last char
			if( i-start_idx < sizeof(str_1) )
				str_1[i-start_idx]= '\0';
			else
				str_1[sizeof(str_1)-1]= '\0';

			// --- Reading second string --- //
			start_idx= ++i;
			while( data[i] != ',' && i-start_idx < sizeof(str_2) && i < sizeof(data) ){
				str_2[i-start_idx] = data[i];
				i++;
			}
			// Place string terminator in last char
			if( i-start_idx < sizeof(str_2) )
				str_2[i-start_idx]= '\0';
			else
				str_2[sizeof(str_2)-1]= '\0';

			// -- Convert strings in float values -- //
			x_val= (float)atof((char*) str_1);
			y_val= (float)atof((char*) str_2);

#ifdef PHONE_CONTROLLER

			// Convert sensors read gravity (~ -9.8 to 9.8) in -1 to 1
			x_val = -x_val/9; //9.9;
			y_val = -y_val/9; //9.9;

#else
#ifdef JOYSTICK_CONTROLLER

			// Convert joystick values (0 to 1023, 10 bit) in -1 to 1
			//x_val =  (x_val-512)/512;
			//y_val = -(y_val-512)/512;

			// Values between ~ -9 to 9 (values scaled like a gravity sensor)
			x_val = -x_val/9; //9.9;
			y_val = -y_val/9; //9.9;

#endif
#endif

			// Set zero values below a threshold to reject noise
			if( fabsf(x_val) < val_thres )
				x_val= 0;
			if( fabsf(y_val) < val_thres )
				y_val= 0;

			// Enroll values between -1 and 1 ( sign(z) == z/|z| )
			if( fabsf(x_val) > 1 )
				x_val= x_val/fabsf(x_val);
			if( fabsf(y_val) > 1 )
				y_val= y_val/fabsf(y_val);

#ifdef STOP_WHEN_ZERO_ENTRY_
			// If values are both zero stop diff drive
			if( x_val == 0 && y_val == 0 )
				diffDrive_enabled= false;
			else
				diffDrive_enabled= true;
#endif

			// While receiving is disabled keep loop here before to start new Rx
			while( !RxStream_enabled ){
				if( !RxStream_stopped ){
					DATASTREAM_ReceiveDMA_Reset(&hstream);
					RxStream_stopped= true;
				}
			}

			// Ready for receive new messages
			DATASTREAM_ReceiveDMA(&hstream, data, sizeof(data));

			// Get current time
			tic= osKernelGetTickCount();

		}

		// If data aren't received for a period of time
		if( (toc= osKernelGetTickCount()-tic) > timeout_time ){

			// Stop Differential Drive motion
			diffDrive_enabled= false;

			// Wait until diff drive is still
			while( !diffDrive_stopped )
				;

			// Suspend other threads
			osThreadSuspend(DiffDriveTaskHandle);
			osThreadSuspend(InfraredTaskHandle);

			// Turn on LED to show that connection is down
			HAL_GPIO_WritePin(LD2_GPIO_Port, LD2_Pin, GPIO_PIN_SET);

			// Try resetting uart Rx and DMA interrupt
			DATASTREAM_ReceiveDMA_Reset(&hstream);

			// Try to start a new DMA receiving request
			DATASTREAM_ReceiveDMA(&hstream, data, sizeof(data));

			// Wait for input
			while( !__DATASTREAM_RX_DMA_CPLT(&hstream) ){

				// While receiving is disabled keep loop here before to reset
				while( !RxStream_enabled )
					RxStream_stopped= true;

				// If more time elapses, without received data, reset system
				if( (osKernelGetTickCount()-tic) > 3*timeout_time ){
					// Reset MCU
					HAL_NVIC_SystemReset();
				}
			}

			// Turn on LED to show that connection is up
			HAL_GPIO_WritePin(LD2_GPIO_Port, LD2_Pin, GPIO_PIN_RESET);

			// Resume other threads
			osThreadResume(DiffDriveTaskHandle);
			osThreadResume(InfraredTaskHandle);

			// Enable diffDrive
			diffDrive_enabled= true;
		}

	}

  /* USER CODE END RxStream */
}

 /**
  * @brief  Period elapsed callback in non blocking mode
  * @note   This function is called  when TIM6 interrupt took place, inside
  * HAL_TIM_IRQHandler(). It makes a direct call to HAL_IncTick() to increment
  * a global variable "uwTick" used as application time base.
  * @param  htim : TIM handle
  * @retval None
  */
void HAL_TIM_PeriodElapsedCallback(TIM_HandleTypeDef *htim)
{
  if (htim->Instance == TIM6) {
    HAL_IncTick();
  }
}

void Error_Handler(void)
{
  __disable_irq();
  while (1)
  {
  }
}

/************************ (C) COPYRIGHT STMicroelectronics *****END OF FILE****/
